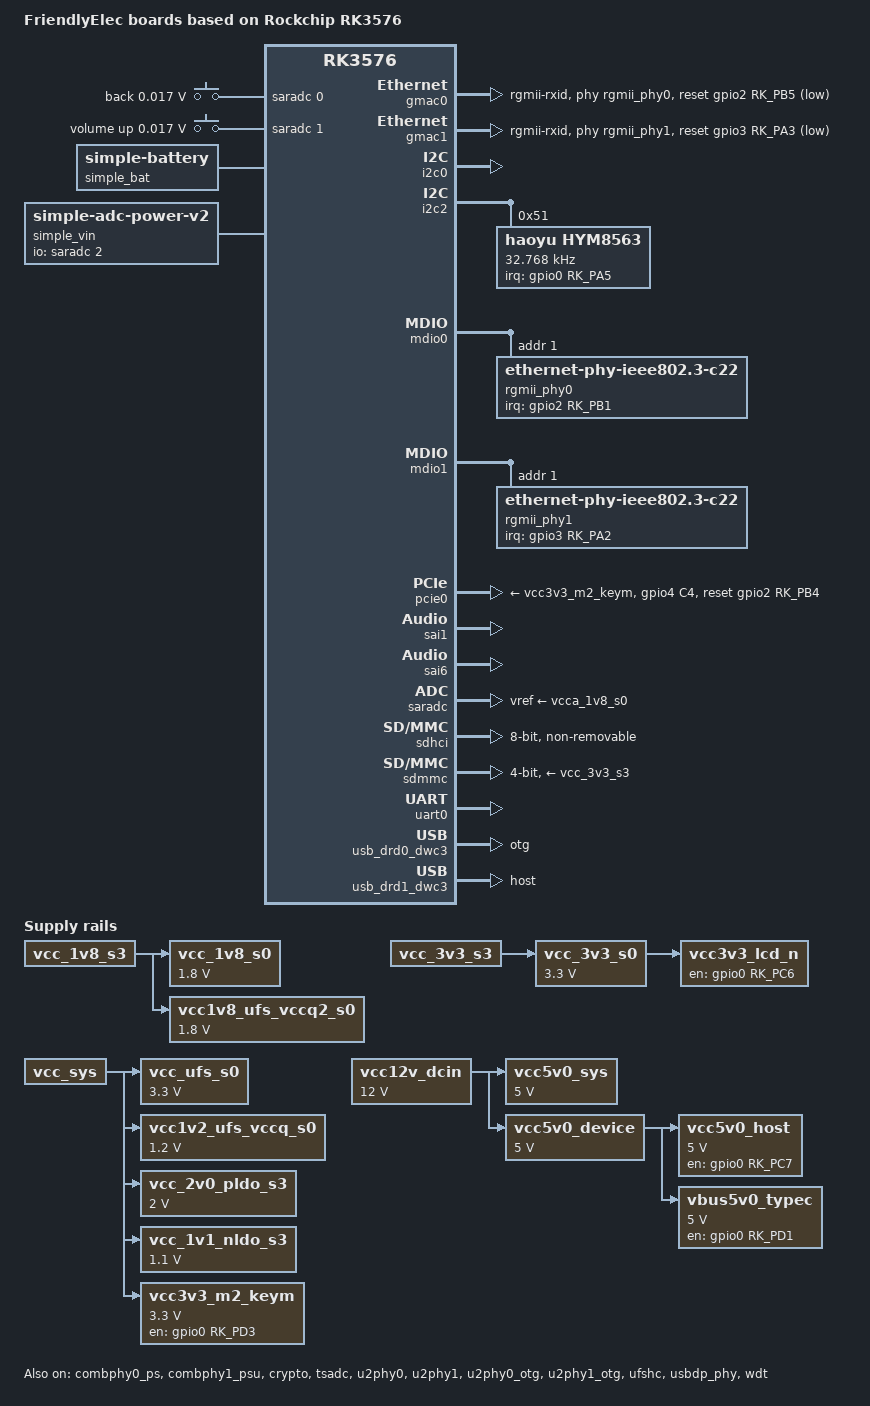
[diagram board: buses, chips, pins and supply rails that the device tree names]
// SPDX-License-Identifier: (GPL-2.0+ OR MIT)
/*
 * Copyright (c) 2025 FriendlyElec Computer Tech. Co., Ltd.
 * (http://www.friendlyelec.com)
 *
 * Copyright (c) 2024 Rockchip Electronics Co., Ltd.
 */

#include <dt-bindings/gpio/gpio.h>
#include <dt-bindings/pinctrl/rockchip.h>
#include <dt-bindings/input/input.h>
#include <dt-bindings/soc/rockchip,vop2.h>
#include <dt-bindings/usb/pd.h>
#include <rockchip/rk3576.dtsi>
#include "rk3576-patch.dtsi"
#include "rk3576-rk806.dtsi"
#include "rk3576-ip.dtsi"
#include "rk3576-ip-rk806.dtsi"

/ {
	model = "FriendlyElec boards based on Rockchip RK3576";
	compatible = "friendlyelec,nanopi5",
		     "rockchip,rk3576";

	aliases {
		mmc0 = &sdmmc;
		mmc1 = &sdio;
		mmc2 = &sdhci;
		scsi0 = &lun0;
		scsi1 = &lun1;
		scsi2 = &lun2;
		scsi3 = &lun3;
	};

	chosen: chosen {
		stdout-path = "serial0:1500000n8";
	};

	adc0_keys: adc0-keys {
		compatible = "adc-keys";
		io-channels = <&saradc 0>;
		io-channel-names = "buttons";
		keyup-threshold-microvolt = <1800000>;
		poll-interval = <100>;

		vol-down-key {
			label = "back";
			linux,code = <KEY_BACK>;
			press-threshold-microvolt = <17000>;
		};
	};

	adc1_keys: adc1-keys {
		compatible = "adc-keys";
		io-channels = <&saradc 1>;
		io-channel-names = "buttons";
		keyup-threshold-microvolt = <1800000>;
		poll-interval = <100>;

		vol-up-key {
			label = "volume up";
			linux,code = <KEY_VOLUMEUP>;
			press-threshold-microvolt = <17000>;
		};
	};

	mach: board {
		compatible = "friendlyelec,board";
		machine = "NANOPI-M5";
		hwrev = <255>;
		model = "NanoPi M5 Series";
		nvmem-cells = <&otp_id>, <&otp_cpu_version>;
		nvmem-cell-names = "id", "cpu-version";
	};

	sdio_pwrseq: sdio-pwrseq {
		compatible = "mmc-pwrseq-simple";
		pinctrl-names = "default";
		pinctrl-0 = <&wifi_poweren_gpio>;

		/*
		 * On the module itself this is one of these (depending
		 * on the actual card populated):
		 * - SDIO_RESET_L_WL_REG_ON
		 * - PDN (power down when low)
		 */
		post-power-on-delay-ms = <200>;
		reset-gpios = <&gpio1 RK_PC2 GPIO_ACTIVE_LOW>;
		status = "disabled";
	};

	simple_bat: battery {
		compatible = "simple-battery";
		voltage-max-design-microvolt = <21000000>;
		voltage-min-design-microvolt = <4500000>;
	};

	simple_vin: simple-vin {
		compatible = "simple-adc-power-v2";
		io-channels = <&saradc 2>;
		io-channel-names = "voltage";
		monitored-battery = <&simple_bat>;
	};

	test-power {
		status = "okay";
	};

	vcc_1v8_s0: vcc-1v8-s0 {
		compatible = "regulator-fixed";
		regulator-name = "vcc_1v8_s0";
		regulator-boot-on;
		regulator-always-on;
		regulator-min-microvolt = <1800000>;
		regulator-max-microvolt = <1800000>;
		vin-supply = <&vcc_1v8_s3>;
	};

	vcc_3v3_s0: vcc-3v3-s0 {
		compatible = "regulator-fixed";
		regulator-name = "vcc_3v3_s0";
		regulator-boot-on;
		regulator-always-on;
		regulator-min-microvolt = <3300000>;
		regulator-max-microvolt = <3300000>;
		vin-supply = <&vcc_3v3_s3>;
	};

	vcc_ufs_s0: vcc-ufs-s0 {
		compatible = "regulator-fixed";
		regulator-name = "vcc_ufs_s0";
		regulator-boot-on;
		regulator-always-on;
		regulator-min-microvolt = <3300000>;
		regulator-max-microvolt = <3300000>;
		vin-supply = <&vcc_sys>;
	};

	vcc1v8_ufs_vccq2_s0: vcc1v8-ufs-vccq2-s0 {
		compatible = "regulator-fixed";
		regulator-name = "vcc1v8_ufs_vccq2_s0";
		regulator-boot-on;
		regulator-always-on;
		regulator-min-microvolt = <1800000>;
		regulator-max-microvolt = <1800000>;
		vin-supply = <&vcc_1v8_s3>;
	};

	vcc1v2_ufs_vccq_s0: vcc1v2-ufs-vccq-s0 {
		compatible = "regulator-fixed";
		regulator-name = "vcc1v2_ufs_vccq_s0";
		regulator-boot-on;
		regulator-always-on;
		regulator-min-microvolt = <1200000>;
		regulator-max-microvolt = <1200000>;
		vin-supply = <&vcc_sys>;
	};

	vcc3v3_lcd_n: vcc3v3-lcd0-n {
		compatible = "regulator-fixed";
		regulator-name = "vcc3v3_lcd0_n";
		regulator-boot-on;
		enable-active-high;
		gpio = <&gpio0 RK_PC6 GPIO_ACTIVE_HIGH>;
		vin-supply = <&vcc_3v3_s0>;
	};

	vcc5v0_host: vcc5v0-host {
		compatible = "regulator-fixed";
		regulator-name = "vcc5v0_host";
		regulator-min-microvolt = <5000000>;
		regulator-max-microvolt = <5000000>;
		enable-active-high;
		gpio = <&gpio0 RK_PC7 GPIO_ACTIVE_HIGH>;
		vin-supply = <&vcc5v0_device>;
		pinctrl-names = "default";
		pinctrl-0 = <&usb_host_pwren>;
	};

	vbus5v0_typec: vbus5v0-typec {
		compatible = "regulator-fixed";
		regulator-name = "vbus5v0_typec";
		regulator-min-microvolt = <5000000>;
		regulator-max-microvolt = <5000000>;
		enable-active-high;
		gpio = <&gpio0 RK_PD1 GPIO_ACTIVE_HIGH>;
		vin-supply = <&vcc5v0_device>;
		pinctrl-names = "default";
		pinctrl-0 = <&usb_otg0_pwren>;
	};

	/*
	vcc_mipicsi0: vcc-mipicsi0-regulator {
		compatible = "regulator-fixed";
		gpio = <&gpio3 RK_PB0 GPIO_ACTIVE_HIGH>;
		pinctrl-names = "default";
		pinctrl-0 = <&mipicsi0_pwr>;
		regulator-name = "vcc_mipicsi0";
		enable-active-high;
	};

	vcc_mipicsi1: vcc-mipicsi1-regulator {
		compatible = "regulator-fixed";
		gpio = <&gpio3 RK_PC5 GPIO_ACTIVE_HIGH>;
		pinctrl-names = "default";
		pinctrl-0 = <&mipicsi1_pwr>;
		regulator-name = "vcc_mipicsi1";
		enable-active-high;
	};

	vcc_mipidcphy0: vcc-mipidcphy0-regulator {
		compatible = "regulator-fixed";
		gpio = <&gpio3 RK_PC6 GPIO_ACTIVE_HIGH>;
		pinctrl-names = "default";
		pinctrl-0 = <&mipidcphy0_pwr>;
		regulator-name = "vcc_mipidcphy0";
		enable-active-high;
	};
	*/

	vcc12v_dcin: vcc12v-dcin {
		compatible = "regulator-fixed";
		regulator-name = "vcc12v_dcin";
		regulator-always-on;
		regulator-boot-on;
		regulator-min-microvolt = <12000000>;
		regulator-max-microvolt = <12000000>;
	};

	vcc5v0_sys: vcc_sys: vcc5v0-sys {
		compatible = "regulator-fixed";
		regulator-name = "vcc_sys";
		regulator-always-on;
		regulator-boot-on;
		regulator-min-microvolt = <5000000>;
		regulator-max-microvolt = <5000000>;
		vin-supply = <&vcc12v_dcin>;
	};

	vcc5v0_device: vcc5v0-device {
		compatible = "regulator-fixed";
		regulator-name = "vcc5v0_device";
		regulator-always-on;
		regulator-boot-on;
		regulator-min-microvolt = <5000000>;
		regulator-max-microvolt = <5000000>;
		vin-supply = <&vcc12v_dcin>;
	};

	vcc_2v0_pldo_s3: vcc-2v0-pldo-s3 {
		compatible = "regulator-fixed";
		regulator-name = "vcc_2v0_pldo_s3";
		regulator-boot-on;
		regulator-always-on;
		regulator-min-microvolt = <2000000>;
		regulator-max-microvolt = <2000000>;
		vin-supply = <&vcc_sys>;
	};

	vcc_1v1_nldo_s3: vcc-1v1-nldo-s3 {
		compatible = "regulator-fixed";
		regulator-name = "vcc_1v1_nldo_s3";
		regulator-boot-on;
		regulator-always-on;
		regulator-min-microvolt = <1100000>;
		regulator-max-microvolt = <1100000>;
		vin-supply = <&vcc_sys>;
	};

	vcc3v3_m2_keym: vcc3v3-m2_keym {
		compatible = "regulator-fixed";
		enable-active-high;
		gpios = <&gpio0 RK_PD3 GPIO_ACTIVE_HIGH>;
		pinctrl-names = "default";
		pinctrl-0 = <&pcie_m2_pwren>;
		regulator-name = "vcc3v3_m2_keym";
		regulator-min-microvolt = <3300000>;
		regulator-max-microvolt = <3300000>;
		vin-supply = <&vcc_sys>;
	};
};

&combphy0_ps {
	status = "okay";
};

&combphy1_psu {
	status = "okay";
};

&cpu_b0 {
	cpu-supply = <&vdd_cpu_big_s0>;
};

&cpu_b1 {
	cpu-supply = <&vdd_cpu_big_s0>;
};

&cpu_b2 {
	cpu-supply = <&vdd_cpu_big_s0>;
};

&cpu_b3 {
	cpu-supply = <&vdd_cpu_big_s0>;
};

&cpu_l0 {
	cpu-supply = <&vdd_cpu_lit_s0>;
};

&cpu_l1 {
	cpu-supply = <&vdd_cpu_lit_s0>;
};

&cpu_l2 {
	cpu-supply = <&vdd_cpu_lit_s0>;
};

&cpu_l3 {
	cpu-supply = <&vdd_cpu_lit_s0>;
};

&crypto {
	status = "okay";
};

&gmac0 {
	/* Use rgmii-rxid mode to disable rx delay inside Soc */
	phy-mode = "rgmii-rxid";
	clock_in_out = "output";

	snps,reset-gpio = <&gpio2 RK_PB5 GPIO_ACTIVE_LOW>;
	snps,reset-active-low;
	/* Reset time is 20ms, 100ms for rtl8211f */
	snps,reset-delays-us = <0 20000 100000>;

	pinctrl-names = "default";
	pinctrl-0 = <&eth0m0_miim
		     &eth0m0_tx_bus2
		     &eth0m0_rx_bus2
		     &eth0m0_rgmii_clk
		     &eth0m0_rgmii_bus>;

	tx_delay = <0x21>;
	/* rx_delay = <0x3f>; */

	phy-handle = <&rgmii_phy0>;
	status = "okay";
};

&gmac1 {
	/* Use rgmii-rxid mode to disable rx delay inside Soc */
	phy-mode = "rgmii-rxid";
	clock_in_out = "output";

	snps,reset-gpio = <&gpio3 RK_PA3 GPIO_ACTIVE_LOW>;
	snps,reset-active-low;
	/* Reset time is 20ms, 100ms for rtl8211f */
	snps,reset-delays-us = <0 20000 100000>;

	pinctrl-names = "default";
	pinctrl-0 = <&eth1m0_miim
		     &eth1m0_tx_bus2
		     &eth1m0_rx_bus2
		     &eth1m0_rgmii_clk
		     &eth1m0_rgmii_bus>;

	tx_delay = <0x20>;
	/* rx_delay = <0x3f>; */

	phy-handle = <&rgmii_phy1>;
	status = "okay";
};

&i2c0 {
	pinctrl-0 = <&i2c0m1_xfer>;
	status = "okay";
};

&i2c2 {
	status = "okay";

	hym8563: hym8563@51 {
		compatible = "haoyu,hym8563";
		reg = <0x51>;
		#clock-cells = <0>;
		clock-frequency = <32768>;
		clock-output-names = "hym8563";
		pinctrl-names = "default";
		pinctrl-0 = <&hym8563_int>;
		interrupt-parent = <&gpio0>;
		interrupts = <RK_PA5 IRQ_TYPE_LEVEL_LOW>;
		wakeup-source;
	};
};

&mdio0 {
	rgmii_phy0: phy@1 {
		compatible = "ethernet-phy-ieee802.3-c22";
		reg = <0x1>;
		clocks = <&cru REFCLKO25M_GMAC0_OUT>;
		interrupt-parent = <&gpio2>;
		interrupts = <RK_PB1 IRQ_TYPE_LEVEL_LOW>;
		pinctrl-names = "default";
		pinctrl-0 = <&gmac0_int>;
		realtek,ledsel = <0xae00>;
	};
};

&mdio1 {
	rgmii_phy1: phy@1 {
		compatible = "ethernet-phy-ieee802.3-c22";
		reg = <0x1>;
		clocks = <&cru REFCLKO25M_GMAC1_OUT>;
		interrupt-parent = <&gpio3>;
		interrupts = <RK_PA2 IRQ_TYPE_LEVEL_LOW>;
		pinctrl-names = "default";
		pinctrl-0 = <&gmac1_int>;
		realtek,ledsel = <0xae00>;
	};
};

&pcie0 {
	pinctrl-names = "default";
	pinctrl-0 = <&pcie_m2_prsnt>;
	prsnt-gpios = <&gpio4 RK_PC4 GPIO_ACTIVE_HIGH>;
	reset-gpios = <&gpio2 RK_PB4 GPIO_ACTIVE_HIGH>;
	rockchip,skip-scan-in-resume;
	rockchip,skip-hw-retry;
	rockchip,wait-for-link-ms = <1000>;
	vpcie3v3-supply = <&vcc3v3_m2_keym>;
	status = "okay";
};

&pinctrl {
	cam {
		mipicsi0_pwr: mipicsi0-pwr {
			rockchip,pins = <3 RK_PB0 RK_FUNC_GPIO &pcfg_pull_none>;
		};

		mipicsi1_pwr: mipicsi1-pwr {
			rockchip,pins = <3 RK_PC5 RK_FUNC_GPIO &pcfg_pull_none>;
		};

		mipidcphy0_pwr: mipidcphy0-pwr {
			rockchip,pins = <3 RK_PC6 RK_FUNC_GPIO &pcfg_pull_none>;
		};
	};

	gmac {
		gmac0_int: gmac0-int {
			rockchip,pins = <2 RK_PB1 RK_FUNC_GPIO &pcfg_pull_up>;
		};
		gmac1_int: gmac1-int {
			rockchip,pins = <3 RK_PA2 RK_FUNC_GPIO &pcfg_pull_up>;
		};
	};

	headphone {
		hp_det: hp-det {
			rockchip,pins = <0 RK_PD3 RK_FUNC_GPIO &pcfg_pull_up>;
		};
	};

	hym8563 {
		hym8563_int: hym8563-int {
			rockchip,pins = <0 RK_PA5 RK_FUNC_GPIO &pcfg_pull_up>;
		};
	};

	pcie {
		pcie_m2_pwren: pcie-m2-pwren {
			rockchip,pins = <0 RK_PD3 RK_FUNC_GPIO &pcfg_pull_none>;
		};

		pcie_m2_prsnt: pcie-m20-prsnt {
			rockchip,pins = <4 RK_PC4 RK_FUNC_GPIO &pcfg_pull_up>;
		};
	};

	sdmmc {
		sd_s0_pwr: sd-s0-pwr {
			rockchip,pins = <0 RK_PB6 RK_FUNC_GPIO &pcfg_pull_up>;
		};
	};

	wireless-wlan {
		/omit-if-no-ref/
		wifi_host_wake_irq: wifi-host-wake-irq {
			rockchip,pins = <0 RK_PB0 RK_FUNC_GPIO &pcfg_pull_down>;
		};

		wifi_poweren_gpio: wifi-poweren-gpio {
			rockchip,pins = <1 RK_PC2 RK_FUNC_GPIO &pcfg_pull_up>;
		};
	};

	touch {
		/omit-if-no-ref/
		touch_gpio: touch-gpio {
			rockchip,pins =
				<0 RK_PD0 RK_FUNC_GPIO &pcfg_pull_up>,
				<0 RK_PC5 RK_FUNC_GPIO &pcfg_pull_up>;
		};
	};

	usb {
		usb_host_pwren: usb-host-pwren {
			rockchip,pins = <0 RK_PC7 RK_FUNC_GPIO &pcfg_pull_none>;
		};

		usb_otg0_pwren: usb-otg0-pwren {
			rockchip,pins = <0 RK_PD1 RK_FUNC_GPIO &pcfg_pull_none>;
		};
	};
};

&sai1 {
	status = "okay";
	pinctrl-names = "default";
	pinctrl-0 = <&sai1m0_lrck
		     &sai1m0_sclk
		     &sai1m0_sdi0
		     &sai1m0_sdo0>;
};

&sai6 {
	status = "okay";
};

&saradc {
	status = "okay";
	vref-supply = <&vcca_1v8_s0>;
};

&sdhci {
	bus-width = <8>;
	no-sdio;
	no-sd;
	non-removable;
	max-frequency = <200000000>;
	mmc-hs400-1_8v;
	mmc-hs400-enhanced-strobe;
	full-pwr-cycle-in-suspend;
	status = "okay";
};

&sdio {
	max-frequency = <200000000>;
	no-sd;
	no-mmc;
	bus-width = <4>;
	disable-wp;
	cap-sd-highspeed;
	cap-sdio-irq;
	keep-power-in-suspend;
	mmc-pwrseq = <&sdio_pwrseq>;
	non-removable;
	sd-uhs-sdr104;
	status = "disabled";
};

&sdmmc {
	bus-width = <4>;
	cap-mmc-highspeed;
	cap-sd-highspeed;
	disable-wp;
	no-mmc;
	no-sdio;
	sd-uhs-sdr104;
	vmmc-supply = <&vcc_3v3_s3>;
	vqmmc-supply = <&vccio_sd_s0>;
	status = "okay";
};

&tsadc {
	status = "okay";
};

&u2phy0 {
	status = "okay";
};

&u2phy1 {
	status = "okay";
};

&u2phy0_otg {
	status = "okay";
	phy-supply = <&vbus5v0_typec>;
};

&u2phy1_otg {
	status = "okay";
	phy-supply = <&vcc5v0_host>;
};

&uart0 {
	status = "okay";
};

&ufshc {
	status = "okay";
	reset-gpios = <&gpio4 RK_PD0 GPIO_ACTIVE_HIGH>;

	scsi {
		#address-cells = <1>;
		#size-cells = <0>;

		lun0: lun@0 {
			reg = <0>;
		};

		lun1: lun@1 {
			reg = <1>;
		};

		lun2: lun@2 {
			reg = <2>;
		};

		lun3: lun@3 {
			reg = <3>;
		};
	};
};

&usbdp_phy {
	status = "okay";
};

&usb_drd0_dwc3 {
	dr_mode = "otg";
	extcon = <&u2phy0>;
	status = "okay";
};

&usb_drd1_dwc3 {
	dr_mode = "host";
	status = "okay";
};

&wdt {
	status = "okay";
};
